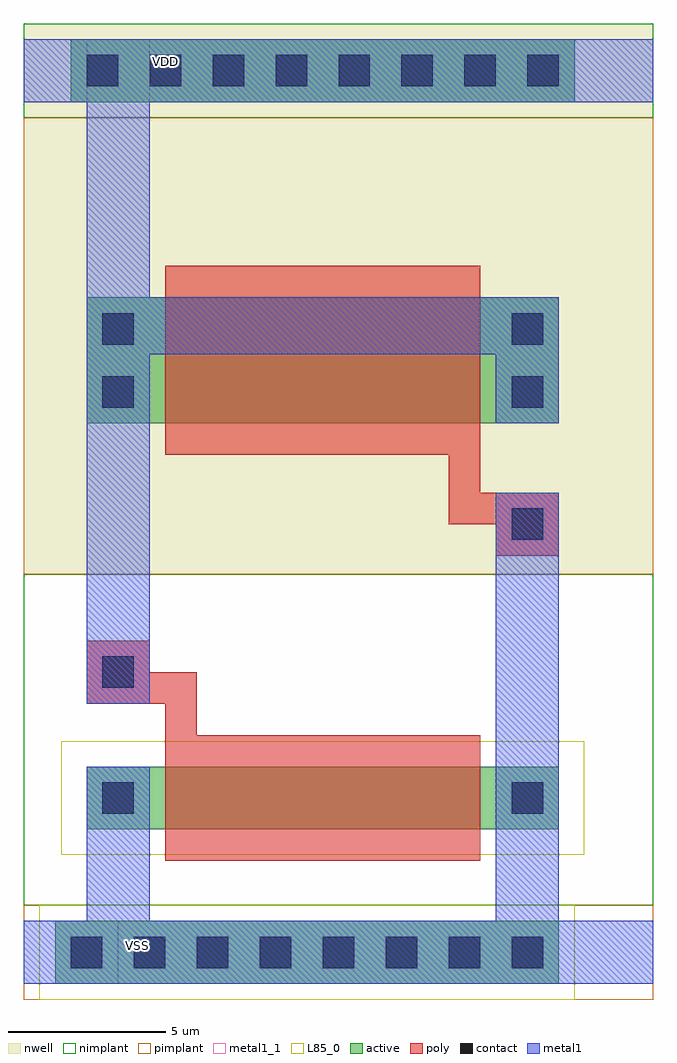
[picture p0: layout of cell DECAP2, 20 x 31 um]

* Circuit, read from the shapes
.subckt DECAP2 VDD VSS
M1 VSS VDD VSS VSS nfet w=2u l=10u
M2 VDD VSS VDD VDD pfet w=4u l=10u
.ends

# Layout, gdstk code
import gdstk
lib = gdstk.Library(unit=1e-6, precision=5e-10)
def R(c, l, rs):  # rectangles x0, y0, x1, y1
    for r in rs: c.add(gdstk.rectangle(r[:2], r[2:], *l))
def A(c, l, x, y, w, h, nx, ny, dx, dy):  # array of equal rectangles
    R(c, l, [(x+i*dx, y+j*dy, x+i*dx+w, y+j*dy+h) for i in range(nx) for j in range(ny)])
active = (1, 0)
nwell = (2, 0)
poly = (3, 0)
nimplant = (4, 0)
pimplant = (5, 0)
contact = (6, 0)
metal1 = (7, 0)
metal1_1 = (7, 1)
L85_0 = (85, 0)

nmos4_cdns_4 = lib.new_cell('nmos4_CDNS_4')
R(nmos4_cdns_4, active, [(1,1,16,3)])
R(nmos4_cdns_4, poly, [(3.5,0,13.5,4), (3.6,3.4,13.4,3.9)])
R(nmos4_cdns_4, nimplant, [(0,0,17,4)])
R(nmos4_cdns_4, contact, [(1.5,1.5,2.5,2.5), (14.5,1.5,15.5,2.5)])
R(nmos4_cdns_4, metal1, [(1,1,3,3), (14,1,16,3), (1.3,1.3,2.7,2.7), (14.3,1.3,15.7,2.7)])
R(nmos4_cdns_4, L85_0, [(0.2,0.2,16.8,3.8)])

pmos4_cdns_5 = lib.new_cell('pmos4_CDNS_5')
R(pmos4_cdns_5, active, [(1,1,16,5)])
R(pmos4_cdns_5, nwell, [(0.2,0.2,16.8,5.8)])
R(pmos4_cdns_5, poly, [(3.5,0,13.5,6), (3.6,5.5,13.4,5.9)])
R(pmos4_cdns_5, pimplant, [(0,0,17,6)])
R(pmos4_cdns_5, contact, [(1.5,1.5,2.5,2.5), (14.5,1.5,15.5,2.5), (1.5,3.5,2.5,4.5), (14.5,3.5,15.5,4.5)])
R(pmos4_cdns_5, metal1, [(1,1,3,5), (14,1,16,5), (1.3,1.3,2.7,2.7), (14.3,1.3,15.7,2.7)])

m1_nwell_cdns_1 = lib.new_cell('M1_NWELL_CDNS_1')
R(m1_nwell_cdns_1, active, [(-8,-1,8,1)])
R(m1_nwell_cdns_1, nwell, [(-8.5,-1.5,8.5,1.5)])
R(m1_nwell_cdns_1, nimplant, [(-8.5,-1.5,8.5,1.5)])
A(m1_nwell_cdns_1, contact, -7.5, -0.5, 1, 1, 8, 1, 2, 0)
R(m1_nwell_cdns_1, metal1, [(-8,-1,8,1)])

m1_po_cdns_2 = lib.new_cell('M1_PO_CDNS_2')
R(m1_po_cdns_2, poly, [(-1,-1,1,1)])
R(m1_po_cdns_2, contact, [(-0.5,-0.5,0.5,0.5)])
R(m1_po_cdns_2, metal1, [(-1,-1,1,1)])

m1_psub_cdns_3 = lib.new_cell('M1_PSUB_CDNS_3')
R(m1_psub_cdns_3, active, [(-8,-1,8,1)])
R(m1_psub_cdns_3, pimplant, [(-8.5,-1.5,8.5,1.5)])
A(m1_psub_cdns_3, contact, -7.5, -0.5, 1, 1, 8, 1, 2, 0)
R(m1_psub_cdns_3, metal1, [(-8,-1,8,1)])
R(m1_psub_cdns_3, L85_0, [(-8.5,-1.5,8.5,1.5)])

decap2 = lib.new_cell('DECAP2')
R(decap2, nwell, [(0,12,20,29.5)])
R(decap2, poly, [(3.8,7.9,5.5,8.9), (13.5,13.6,15.2,14.6)])
R(decap2, nimplant, [(0,1.5,20,12), (0,26.5,20,29.5)])
R(decap2, pimplant, [(0,-1.5,20,1.5), (0,12,20,26.5)])
R(decap2, metal1, [(0,-1,20,1), (15,-0.3,17,14.3), (2,0,4,4.6), (2,7.9,4,18.1), (2,16,4,28.5), (2,19,17,20.8), (0,27,20,29)])
R(decap2, metal1_1, [(1,-1,3,1), (2,27,4,29)])
decap2.add(gdstk.FlexPath([(5,6.8),(5,8.9)], 1, ends="flush", simple_path=True, layer=3, datatype=0))  # poly
decap2.add(gdstk.FlexPath([(14,15.8),(14,14.1)], 1, ends="flush", simple_path=True, layer=3, datatype=0))  # poly
decap2.add(gdstk.Reference(nmos4_cdns_4, (1,2.9)))
decap2.add(gdstk.Reference(pmos4_cdns_5, (1,15.8)))
decap2.add(gdstk.Reference(m1_nwell_cdns_1, (9.5,28)))
decap2.add(gdstk.Reference(m1_po_cdns_2, (16,13.6)))
decap2.add(gdstk.Reference(m1_po_cdns_2, (3,8.9)))
decap2.add(gdstk.Reference(m1_psub_cdns_3, (9,0)))
decap2.add(gdstk.Label('VSS', (3.6,0.2), layer=7, texttype=3))
decap2.add(gdstk.Label('VDD', (4.5,28.3), layer=7, texttype=3))

lib.write_gds('DECAP2.gds')
